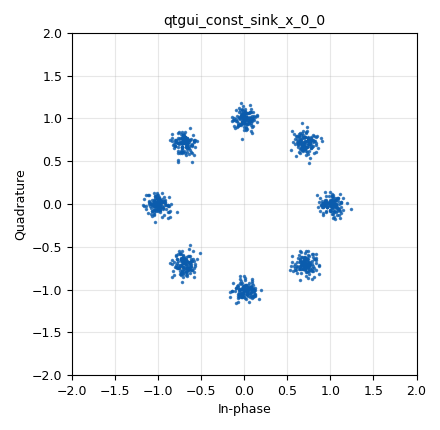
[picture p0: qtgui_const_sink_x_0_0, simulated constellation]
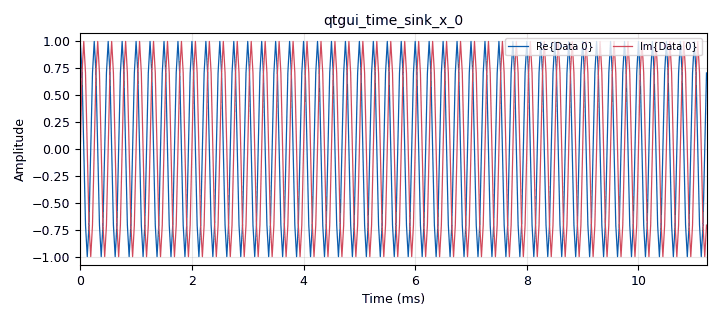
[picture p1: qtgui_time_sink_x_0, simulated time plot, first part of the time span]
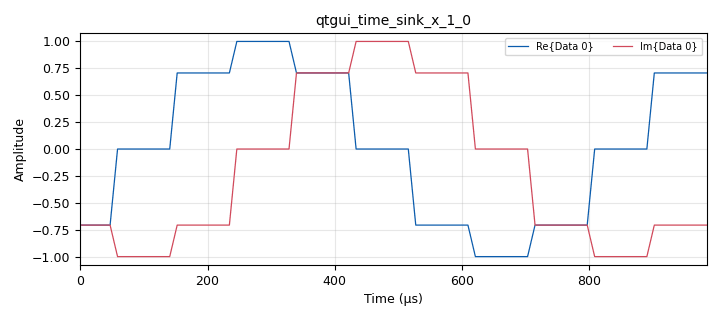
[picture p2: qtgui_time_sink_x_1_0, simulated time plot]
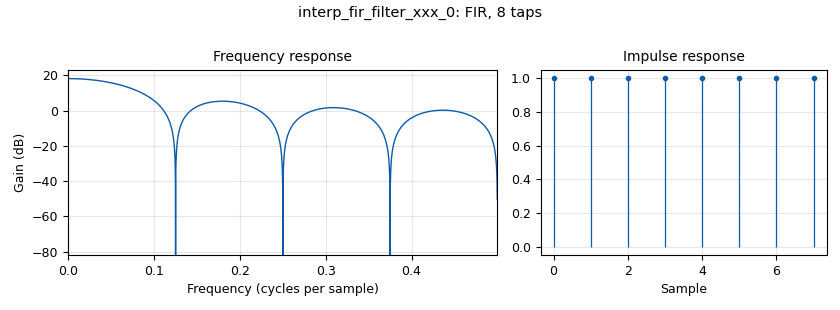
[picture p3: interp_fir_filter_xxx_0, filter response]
options:
  parameters:
    generate_options: qt_gui
    id: Constelacion
    output_language: python
    title: Not titled yet
  states: {}

blocks:
- name: H
  id: variable
  parameters:
    value: (1.,1.,1.,1.,1.,1.,1.,1.,)
  states: {}
- name: M
  id: variable
  parameters:
    value: '8'
  states: {}
- name: N
  id: variable_qtgui_range
  parameters:
    start: '0'
    step: '0.01'
    stop: '2'
    value: '0.1'
  states: {}
- name: Nbs
  id: variable
  parameters:
    value: int(math.log(M,2))
  states: {}
- name: Rs
  id: variable
  parameters:
    value: rb/Nbs
  states: {}
- name: Samp_rate
  id: variable
  parameters:
    value: Rs*Sps
  states: {}
- name: Sps
  id: variable
  parameters:
    value: len(H)
  states: {}
- name: cons
  id: variable
  parameters:
    value: (1+0j, 0.707+0.707j, 0+1j, -0.707+0.707j, -1+0j, -0.707-0.707j, 0-1j, 0.707-0.707j)
  states: {}
- name: rb
  id: variable
  parameters:
    value: '32000'
  states: {}
- name: analog_noise_source_x_0
  id: analog_noise_source_x
  parameters:
    amp: N
    noise_type: analog.GR_GAUSSIAN
    seed: '0'
    type: complex
  states: {}
- name: analog_random_source_x_0
  id: analog_random_source_x
  parameters:
    max: '2'
    min: '0'
    num_samps: '1000'
    repeat: 'True'
    type: byte
  states: {state: disabled}
- name: blocks_add_xx_0
  id: blocks_add_xx
  parameters:
    type: complex
  states: {}
- name: blocks_repack_bits_bb_0
  id: blocks_repack_bits_bb
  parameters:
    endianness: gr.GR_LSB_FIRST
    k: '1'
    l: Nbs
  states: {state: disabled}
- name: blocks_throttle_0
  id: blocks_throttle
  parameters:
    samples_per_second: Samp_rate
    type: complex
  states: {}
- name: blocks_vector_source_x_0
  id: blocks_vector_source_x
  parameters:
    repeat: 'True'
    type: int
    vector: (0,1,2,3,4,5,6,7)
  states: {}
- name: digital_chunks_to_symbols_xx_0
  id: digital_chunks_to_symbols_xx
  parameters:
    dimension: '1'
    in_type: int
    out_type: complex
    symbol_table: cons
  states: {}
- name: import_0
  id: import
  parameters:
    imports: import math
  states: {}
- name: interp_fir_filter_xxx_0
  id: interp_fir_filter_xxx
  parameters:
    interp: '8'
    taps: H
    type: ccc
  states: {}
- name: qtgui_const_sink_x_0_0
  id: qtgui_const_sink_x
  parameters:
    size: '1024'
    type: complex
  states: {}
- name: qtgui_time_sink_x_0
  id: qtgui_time_sink_x
  parameters:
    size: '1024'
    srate: rb
    type: complex
  states: {}
- name: qtgui_time_sink_x_1_0
  id: qtgui_time_sink_x
  parameters:
    color1: red
    color2: blue
    label1: Signal 4
    size: int(32*Sps/Nbs)
    srate: Samp_rate
    type: complex
    width1: '3'
    width2: '3'
  states: {}

connections:
- [analog_noise_source_x_0, '0', blocks_add_xx_0, '1']
- [analog_random_source_x_0, '0', blocks_repack_bits_bb_0, '0']
- [blocks_add_xx_0, '0', qtgui_const_sink_x_0_0, '0']
- [blocks_repack_bits_bb_0, '0', digital_chunks_to_symbols_xx_0, '0']
- [blocks_throttle_0, '0', blocks_add_xx_0, '0']
- [blocks_vector_source_x_0, '0', digital_chunks_to_symbols_xx_0, '0']
- [digital_chunks_to_symbols_xx_0, '0', interp_fir_filter_xxx_0, '0']
- [digital_chunks_to_symbols_xx_0, '0', qtgui_time_sink_x_0, '0']
- [interp_fir_filter_xxx_0, '0', blocks_throttle_0, '0']
- [interp_fir_filter_xxx_0, '0', qtgui_time_sink_x_1_0, '0']

metadata:
  file_format: 1
  grc_version: 3.9.8.0
